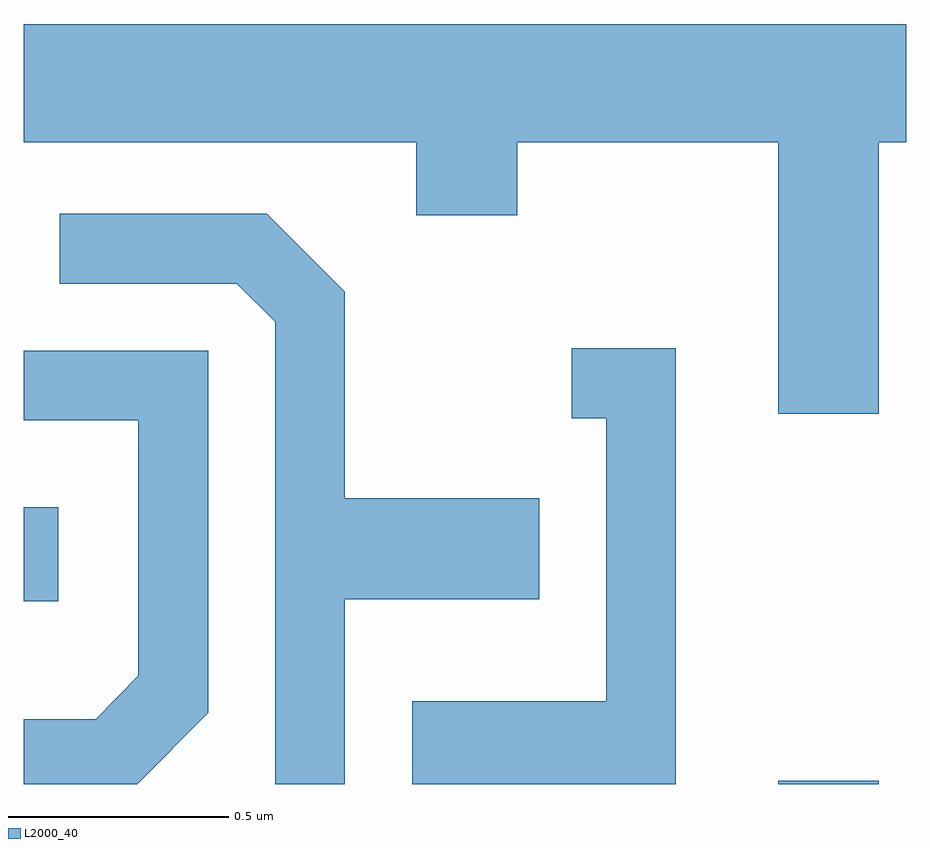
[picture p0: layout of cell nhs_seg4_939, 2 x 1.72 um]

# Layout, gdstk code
import gdstk
lib = gdstk.Library(unit=1e-6, precision=1e-09)
def R(c, l, rs):  # rectangles x0, y0, x1, y1
    for r in rs: c.add(gdstk.rectangle(r[:2], r[2:], *l))
def P(c, l, *ps):  # polygons
    for p in ps: c.add(gdstk.Polygon(p, *l))
L2000_40 = (2000, 40)

nhs_seg4_939 = lib.new_cell('nhs_seg4_939')
R(nhs_seg4_939, L2000_40, [(193.321,1370.982,193.549,1370.989), (191.611,1371.396,191.689,1371.609)])
P(nhs_seg4_939, L2000_40, [(193.549,1372.436),(193.611,1372.436),(193.611,1372.704),(191.611,1372.704),(191.611,1372.436),(192.501,1372.436),(192.501,1372.271),(192.729,1372.271),(192.729,1372.436),(193.321,1372.436),(193.321,1371.821),(193.549,1371.821)],
  [(192.339,1371.401),(192.779,1371.401),(192.779,1371.629),(192.339,1371.629),(192.339,1372.097),(192.162,1372.274),(191.693,1372.274),(191.693,1372.116),(192.094,1372.116),(192.181,1372.029),(192.181,1370.982),(192.339,1370.982)],
  [(193.089,1371.969),(192.853,1371.969),(192.853,1371.811),(192.931,1371.811),(192.931,1371.169),(192.491,1371.169),(192.491,1370.982),(193.089,1370.982)],
  [(192.029,1371.144),(192.029,1371.964),(191.611,1371.964),(191.611,1371.806),(191.871,1371.806),(191.871,1371.227),(191.774,1371.129),(191.611,1371.129),(191.611,1370.982),(191.868,1370.982)])

lib.write_gds('nhs_seg4_939.gds')
